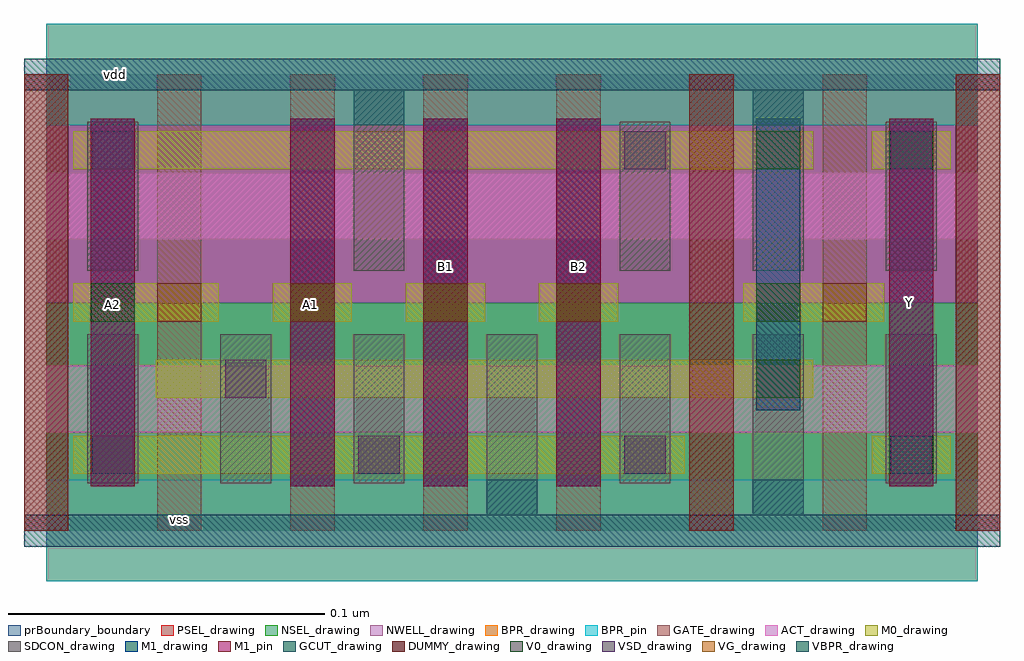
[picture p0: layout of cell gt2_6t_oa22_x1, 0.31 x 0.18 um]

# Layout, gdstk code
import gdstk
lib = gdstk.Library(unit=1e-6, precision=5e-10)
def R(c, l, rs):  # rectangles x0, y0, x1, y1
    for r in rs: c.add(gdstk.rectangle(r[:2], r[2:], *l))
def A(c, l, x, y, w, h, nx, ny, dx, dy):  # array of equal rectangles
    R(c, l, [(x+i*dx, y+j*dy, x+i*dx+w, y+j*dy+h) for i in range(nx) for j in range(ny)])
NWELL_drawing = (1, 0)
ACT_drawing = (2, 0)
GATE_drawing = (3, 0)
DUMMY_drawing = (4, 0)
GCUT_drawing = (5, 0)
NSEL_drawing = (6, 0)
PSEL_drawing = (7, 0)
BPR_drawing = (8, 0)
BPR_pin = (8, 251)
VBPR_drawing = (9, 0)
SDCON_drawing = (10, 0)
VSD_drawing = (11, 0)
VG_drawing = (12, 0)
M0_drawing = (20, 0)
V0_drawing = (22, 0)
M1_drawing = (25, 0)
M1_pin = (25, 251)
prBoundary_boundary = (235, 250)

gt2_6t_oa22_x1 = lib.new_cell('gt2_6t_oa22_x1')
R(gt2_6t_oa22_x1, NWELL_drawing, [(0,0.072,0.294,0.144)])
R(gt2_6t_oa22_x1, ACT_drawing, [(0,0.031,0.294,0.052), (0,0.092,0.294,0.113)])
A(gt2_6t_oa22_x1, GATE_drawing, -0.007, 0, 0.014, 0.144, 8, 1, 0.042, 0)
R(gt2_6t_oa22_x1, DUMMY_drawing, [(-0.007,0,0.007,0.144), (0.203,0,0.217,0.144), (0.287,0,0.301,0.144)])
R(gt2_6t_oa22_x1, GCUT_drawing, [(-0.007,-0.005,0.301,0.005), (-0.007,0.139,0.301,0.149)])
R(gt2_6t_oa22_x1, NSEL_drawing, [(0,0,0.294,0.072)])
R(gt2_6t_oa22_x1, PSEL_drawing, [(0,0.072,0.294,0.144)])
R(gt2_6t_oa22_x1, BPR_drawing, [(0,-0.016,0.294,0.016), (0,0.128,0.294,0.16)])
R(gt2_6t_oa22_x1, BPR_pin, [(0,-0.016,0.294,0.016), (0,0.128,0.294,0.16)])
R(gt2_6t_oa22_x1, VBPR_drawing, [(0.139,0.005,0.155,0.016), (0.223,0.005,0.239,0.016), (0.097,0.128,0.113,0.139), (0.223,0.128,0.239,0.139)])
A(gt2_6t_oa22_x1, SDCON_drawing, 0.013, 0.015, 0.016, 0.047, 3, 1, 0.042, 0)
R(gt2_6t_oa22_x1, SDCON_drawing, [(0.139,0.005,0.155,0.062), (0.223,0.005,0.239,0.062), (0.181,0.015,0.197,0.062), (0.265,0.015,0.281,0.062), (0.013,0.082,0.029,0.129), (0.097,0.082,0.113,0.139), (0.181,0.082,0.197,0.129), (0.223,0.082,0.239,0.139), (0.265,0.082,0.281,0.129)])
A(gt2_6t_oa22_x1, VSD_drawing, 0.0145, 0.018, 0.013, 0.012, 4, 1, 0.084, 0)
R(gt2_6t_oa22_x1, VSD_drawing, [(0.0565,0.042,0.0695,0.054), (0.0145,0.114,0.0275,0.126), (0.1825,0.114,0.1955,0.126), (0.2665,0.114,0.2795,0.126)])
A(gt2_6t_oa22_x1, VG_drawing, 0.035, 0.066, 0.014, 0.012, 4, 1, 0.042, 0)
R(gt2_6t_oa22_x1, VG_drawing, [(0.245,0.066,0.259,0.078)])
A(gt2_6t_oa22_x1, M0_drawing, 0.0715, 0.066, 0.025, 0.012, 3, 1, 0.042, 0)
R(gt2_6t_oa22_x1, M0_drawing, [(0.0085,0.018,0.2015,0.03), (0.2605,0.018,0.2855,0.03), (0.0345,0.042,0.242,0.054), (0.0085,0.066,0.0545,0.078), (0.22,0.066,0.2645,0.078), (0.0085,0.114,0.242,0.126), (0.2605,0.114,0.2855,0.126)])
A(gt2_6t_oa22_x1, V0_drawing, 0.077, 0.066, 0.014, 0.012, 3, 1, 0.042, 0)
R(gt2_6t_oa22_x1, V0_drawing, [(0.266,0.018,0.28,0.03), (0.224,0.042,0.238,0.054), (0.014,0.066,0.028,0.078), (0.224,0.066,0.238,0.078), (0.224,0.114,0.238,0.126), (0.266,0.114,0.28,0.126)])
A(gt2_6t_oa22_x1, M1_drawing, 0.077, 0.014, 0.014, 0.116, 3, 1, 0.042, 0)
R(gt2_6t_oa22_x1, M1_drawing, [(0.014,0.014,0.028,0.13), (0.266,0.014,0.28,0.13), (0.224,0.038,0.238,0.13)])
A(gt2_6t_oa22_x1, M1_pin, 0.077, 0.014, 0.014, 0.116, 3, 1, 0.042, 0)
R(gt2_6t_oa22_x1, M1_pin, [(0.014,0.014,0.028,0.13), (0.266,0.014,0.28,0.13)])
R(gt2_6t_oa22_x1, prBoundary_boundary, [(0,0,0.294,0.144)])
gt2_6t_oa22_x1.add(gdstk.Label('vss', (0.042,0.0035), layer=8, texttype=251))
gt2_6t_oa22_x1.add(gdstk.Label('vdd', (0.022,0.144), layer=8, texttype=251))
gt2_6t_oa22_x1.add(gdstk.Label('B2', (0.168,0.0835), layer=25, texttype=251))
gt2_6t_oa22_x1.add(gdstk.Label('Y', (0.2725,0.072), layer=25, texttype=251))
gt2_6t_oa22_x1.add(gdstk.Label('B1', (0.126,0.0835), layer=25, texttype=251))
gt2_6t_oa22_x1.add(gdstk.Label('A1', (0.0835,0.0715), layer=25, texttype=251))
gt2_6t_oa22_x1.add(gdstk.Label('A2', (0.021,0.0715), layer=25, texttype=251))

lib.write_gds('gt2_6t_oa22_x1.gds')
